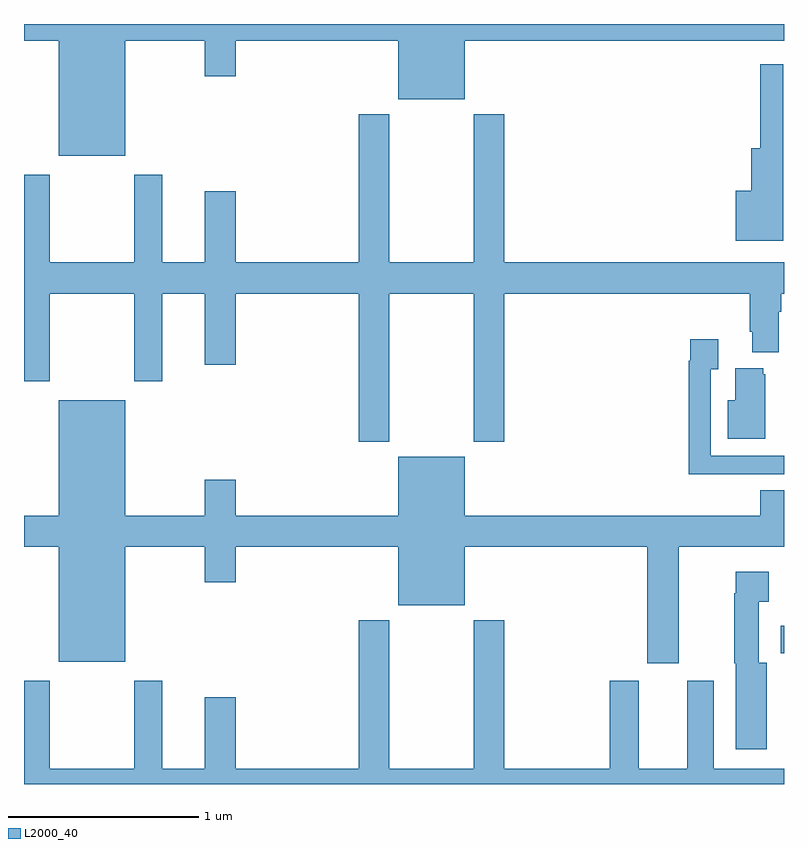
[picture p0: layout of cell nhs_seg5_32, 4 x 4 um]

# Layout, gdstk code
import gdstk
lib = gdstk.Library(unit=1e-6, precision=1e-09)
def R(c, l, rs):  # rectangles x0, y0, x1, y1
    for r in rs: c.add(gdstk.rectangle(r[:2], r[2:], *l))
def P(c, l, *ps):  # polygons
    for p in ps: c.add(gdstk.Polygon(p, *l))
L2000_40 = (2000, 40)

nhs_seg5_32 = lib.new_cell('nhs_seg5_32')
R(nhs_seg5_32, L2000_40, [(114.984,901.488,115,901.633)])
P(nhs_seg5_32, L2000_40, [(111.532,904.712),(111.95,904.712),(111.95,904.524),(112.114,904.524),(112.114,904.712),(112.97,904.712),(112.97,904.403),(113.32,904.403),(113.32,904.712),(115,904.712),(115,904.799),(111,904.799),(111,904.712),(111.182,904.712),(111.182,904.106),(111.532,904.106)],
  [(114.997,904.588),(114.876,904.588),(114.876,904.144),(114.827,904.144),(114.827,903.922),(114.746,903.922),(114.746,903.659),(114.997,903.659)],
  [(112.923,903.38),(113.368,903.38),(113.368,902.601),(113.528,902.601),(113.528,903.38),(114.821,903.38),(114.821,903.178),(114.833,903.178),(114.833,903.071),(114.973,903.071),(114.973,903.284),(114.986,903.284),(114.986,903.38),(115,903.38),(115,903.544),(113.528,903.544),(113.528,904.324),(113.368,904.324),(113.368,903.544),(112.923,903.544),(112.923,904.324),(112.763,904.324),(112.763,903.544),(112.114,903.544),(112.114,903.919),(111.95,903.919),(111.95,903.544),(111.727,903.544),(111.727,904.006),(111.58,904.006),(111.58,903.544),(111.135,903.544),(111.135,904.006),(111,904.006),(111,902.919),(111.135,902.919),(111.135,903.38),(111.58,903.38),(111.58,902.919),(111.727,902.919),(111.727,903.38),(111.95,903.38),(111.95,903.006),(112.114,903.006),(112.114,903.38),(112.763,903.38),(112.763,902.601),(112.923,902.601)],
  [(114.791,902.43),(115,902.43),(115,902.526),(114.615,902.526),(114.615,902.983),(114.655,902.983),(114.655,903.139),(114.507,903.139),(114.507,903.026),(114.499,903.026),(114.499,902.429),(114.791,902.429)],
  [(114.901,902.955),(114.89,902.955),(114.89,902.986),(114.743,902.986),(114.743,902.818),(114.704,902.818),(114.704,902.615),(114.901,902.615)],
  [(114.445,902.048),(115,902.048),(115,902.345),(114.875,902.345),(114.875,902.212),(113.32,902.212),(113.32,902.521),(112.97,902.521),(112.97,902.212),(112.114,902.212),(112.114,902.401),(111.95,902.401),(111.95,902.212),(111.532,902.212),(111.532,902.818),(111.182,902.818),(111.182,902.212),(111,902.212),(111,902.048),(111.182,902.048),(111.182,901.442),(111.532,901.442),(111.532,902.048),(111.95,902.048),(111.95,901.86),(112.114,901.86),(112.114,902.048),(112.97,902.048),(112.97,901.739),(113.32,901.739),(113.32,902.048),(114.281,902.048),(114.281,901.434),(114.445,901.434)],
  [(114.91,901.438),(114.868,901.438),(114.868,901.759),(114.919,901.759),(114.919,901.915),(114.746,901.915),(114.746,901.802),(114.739,901.802),(114.739,901.434),(114.746,901.434),(114.746,900.981),(114.91,900.981)],
  [(115,900.88),(114.631,900.88),(114.631,901.342),(114.491,901.342),(114.491,900.88),(114.235,900.88),(114.235,901.342),(114.083,901.342),(114.083,900.88),(113.528,900.88),(113.528,901.66),(113.368,901.66),(113.368,900.88),(112.923,900.88),(112.923,901.66),(112.763,901.66),(112.763,900.88),(112.114,900.88),(112.114,901.255),(111.95,901.255),(111.95,900.88),(111.727,900.88),(111.727,901.342),(111.58,901.342),(111.58,900.88),(111.135,900.88),(111.135,901.342),(111,901.342),(111,900.799),(115,900.799)])

lib.write_gds('nhs_seg5_32.gds')
